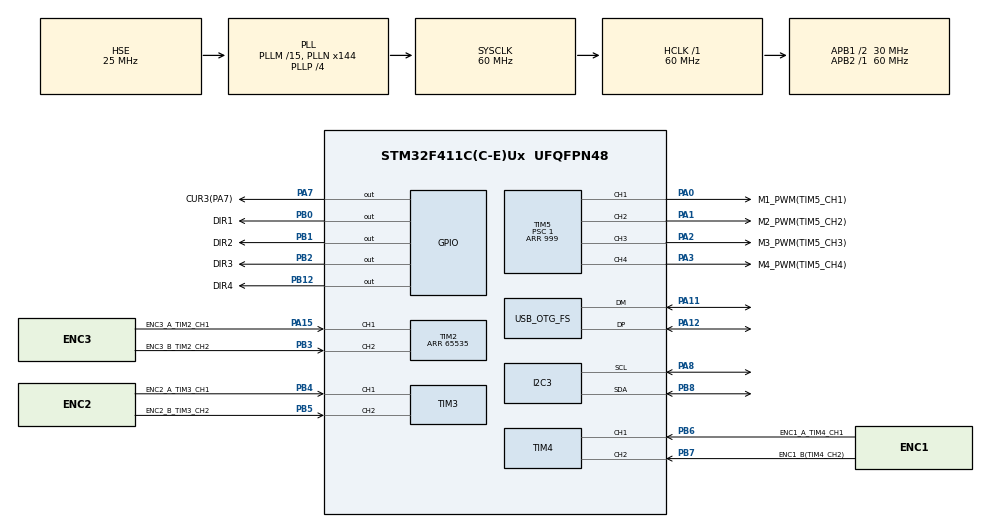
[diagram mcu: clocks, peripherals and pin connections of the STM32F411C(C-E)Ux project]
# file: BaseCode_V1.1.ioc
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Mcu.Family=STM32F4
Mcu.Name=STM32F411C(C-E)Ux
Mcu.Package=UFQFPN48
NVIC.OTG_FS_IRQn=true\:0\:0\:false\:false\:true\:false\:true\:true
NVIC.PriorityGroup=NVIC_PRIORITYGROUP_4
PA0-WKUP.GPIO_Label=M1_PWM(TIM5_CH1)
PA0-WKUP.Signal=S_TIM5_CH1
PA1.GPIO_Label=M2_PWM(TIM5_CH2)
PA1.Signal=S_TIM5_CH2
PA11.Mode=Device_Only
PA11.Signal=USB_OTG_FS_DM
PA12.Mode=Device_Only
PA12.Signal=USB_OTG_FS_DP
PA13.Mode=Serial_Wire
PA13.Signal=SYS_JTMS-SWDIO
PA14.Mode=Serial_Wire
PA14.Signal=SYS_JTCK-SWCLK
PA15.GPIO_Label=ENC3_A_TIM2_CH1
PA15.Signal=S_TIM2_CH1_ETR
PA2.GPIO_Label=M3_PWM(TIM5_CH3)
PA2.Signal=S_TIM5_CH3
PA3.GPIO_Label=M4_PWM(TIM5_CH4)
PA3.Signal=S_TIM5_CH4
PA7.GPIO_Label=CUR3(PA7)
PA7.Signal=GPIO_Output
PA8.Mode=I2C
PA8.Signal=I2C3_SCL
PB0.GPIO_Label=DIR1
PB0.Signal=GPIO_Output
PB1.GPIO_Label=DIR2
PB1.Signal=GPIO_Output
PB12.GPIO_Label=DIR4
PB12.Signal=GPIO_Output
PB2.GPIO_Label=DIR3
PB2.Signal=GPIO_Output
PB3.GPIO_Label=ENC3_B_TIM2_CH2
PB3.Signal=S_TIM2_CH2
PB4.GPIO_Label=ENC2_A_TIM3_CH1
PB4.Signal=S_TIM3_CH1
PB5.GPIO_Label=ENC2_B_TIM3_CH2
PB5.Signal=S_TIM3_CH2
PB6.GPIO_Label=ENC1_A_TIM4_CH1
PB6.Signal=S_TIM4_CH1
PB7.GPIO_Label=ENC1_B(TIM4_CH2)
PB7.Signal=S_TIM4_CH2
PB8.Mode=I2C
PB8.Signal=I2C3_SDA
PH0\ -\ OSC_IN.Mode=HSE-External-Oscillator
PH0\ -\ OSC_IN.Signal=RCC_OSC_IN
PH1\ -\ OSC_OUT.Mode=HSE-External-Oscillator
PH1\ -\ OSC_OUT.Signal=RCC_OSC_OUT
ProjectManager.HeapSize=0x200
ProjectManager.StackSize=0x400
ProjectManager.TargetToolchain=STM32CubeIDE
RCC.48MHZClocksFreq_Value=48000000
RCC.AHBFreq_Value=60000000
RCC.APB1CLKDivider=RCC_HCLK_DIV2
RCC.APB1Freq_Value=30000000
RCC.APB1TimFreq_Value=60000000
RCC.APB2Freq_Value=60000000
RCC.APB2TimFreq_Value=60000000
RCC.CortexFreq_Value=60000000
RCC.HCLKFreq_Value=60000000
RCC.HSE_VALUE=25000000
RCC.HSI_VALUE=16000000
RCC.LSE_VALUE=32768
RCC.PLLM=15
RCC.PLLN=144
RCC.PLLP=RCC_PLLP_DIV4
RCC.PLLQ=5
RCC.SYSCLKFreq_VALUE=60000000
RCC.SYSCLKSource=RCC_SYSCLKSOURCE_PLLCLK
RCC.VCOOutputFreq_Value=240000000
SH.S_TIM2_CH1_ETR.0=TIM2_CH1,Encoder_Interface
SH.S_TIM2_CH2.0=TIM2_CH2,Encoder_Interface
SH.S_TIM3_CH1.0=TIM3_CH1,Encoder_Interface
SH.S_TIM3_CH2.0=TIM3_CH2,Encoder_Interface
SH.S_TIM4_CH1.0=TIM4_CH1,Encoder_Interface
SH.S_TIM4_CH2.0=TIM4_CH2,Encoder_Interface
SH.S_TIM5_CH1.0=TIM5_CH1,PWM Generation1 CH1
SH.S_TIM5_CH2.0=TIM5_CH2,PWM Generation2 CH2
SH.S_TIM5_CH3.0=TIM5_CH3,PWM Generation3 CH3
SH.S_TIM5_CH4.0=TIM5_CH4,PWM Generation4 CH4
TIM2.EncoderMode=TIM_ENCODERMODE_TI12
TIM2.IC1Filter=5
TIM2.IC2Filter=5
TIM2.Period=65535
TIM3.EncoderMode=TIM_ENCODERMODE_TI12
TIM3.IC1Filter=5
TIM3.IC2Filter=5
TIM4.EncoderMode=TIM_ENCODERMODE_TI12
TIM4.IC1Filter=5
TIM4.IC2Filter=5
TIM5.Channel-PWM\ Generation1\ CH1=TIM_CHANNEL_1
TIM5.Channel-PWM\ Generation2\ CH2=TIM_CHANNEL_2
TIM5.Channel-PWM\ Generation3\ CH3=TIM_CHANNEL_3
TIM5.Channel-PWM\ Generation4\ CH4=TIM_CHANNEL_4
TIM5.Period=999
TIM5.Prescaler=1
USB_DEVICE.CLASS_NAME_FS=CDC
USB_DEVICE.VirtualMode=Cdc
USB_DEVICE.VirtualModeFS=Cdc_FS
USB_OTG_FS.VirtualMode=Device_Only
VP_TIM5_VS_ClockSourceINT.Mode=Internal
VP_USB_DEVICE_VS_USB_DEVICE_CDC_FS.Mode=CDC_FS
board=custom

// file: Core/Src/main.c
/* USER CODE BEGIN Header */
/**
  ******************************************************************************
  * @file           : main.c
  * @brief          : Main program body (Ultra-Clean Version)
  ******************************************************************************
  */
/* USER CODE END Header */
#include "main.h"
#include "usb_device.h"

/* USER CODE BEGIN Includes */
#include "usbd_cdc_if.h"
#include <stdio.h>
#include <stdlib.h>
#include <string.h>
#include <stdbool.h>
#include <math.h>

#include "bno085_driver.h"
#include "bno_port.h"
#include "encoder.h"
#include "motor.h"
#include "sport.h"
/* USER CODE END Includes */

I2C_HandleTypeDef hi2c3;

TIM_HandleTypeDef htim2;
TIM_HandleTypeDef htim3;
TIM_HandleTypeDef htim4;
TIM_HandleTypeDef htim5;

/* USER CODE BEGIN PV */
/* BNO085 instances */
static BNO085 s_bno;
static BNO_Port s_bno_port;
static bool s_bno_ready = false;
static uint32_t s_last_feature_retry = 0;

/* State variables */
static uint32_t s_last_telemetry_tick = 0;
static uint32_t s_last_cmd_tick = 0;
static bool s_motors_active = false;
static int16_t s_motor_pwm[4] = {0, 0, 0, 0};

/* SmartPort current sensor state */
static float s_current_amps = 0.0f;
static uint32_t s_last_sport_ok_tick = 0;
static uint32_t s_last_sport_poll_tick = 0;
static bool s_sport_ever_ok = false;

/* USB Buffers */
static char s_tx_buf[384];
static char s_ack_buf[256];
static volatile bool s_pending_ack = false;
static char s_rx_line[128];
static uint8_t s_rx_idx = 0;
/* USER CODE END PV */

void SystemClock_Config(void);
static void MX_GPIO_Init(void);
static void MX_TIM2_Init(void);
static void MX_TIM3_Init(void);
static void MX_TIM4_Init(void);
static void MX_TIM5_Init(void);
static void MX_I2C3_Init(void);

int main(void)
{

  /* MCU Configuration--------------------------------------------------------*/

  /* Reset of all peripherals, Initializes the Flash interface and the Systick. */
  HAL_Init();

  /* Configure the system clock */
  SystemClock_Config();

  /* Initialize all configured peripherals */
  MX_GPIO_Init();
  MX_TIM2_Init();
  MX_TIM3_Init();
  MX_TIM4_Init();
  MX_TIM5_Init();
  MX_USB_DEVICE_Init();
  MX_I2C3_Init();
  /* USER CODE BEGIN 2 */
  HAL_Delay(1000); /* Allow USB CDC and peripherals to initialize */

  /* Initialize autonomous robot subsystems (Encoders, MD30C Motors, BNO085) */
  robot_init();
  /* USER CODE END 2 */

  /* Infinite loop */
  /* USER CODE BEGIN WHILE */
  while (1)
  {
    /* Service odometry, IMU, motor safety, and USB CDC JSON telemetry */
    robot_loop();
    /* USER CODE END WHILE */

  }
}

void SystemClock_Config(void)
{
  RCC_OscInitTypeDef RCC_OscInitStruct = {0};
  RCC_ClkInitTypeDef RCC_ClkInitStruct = {0};

  /** Configure the main internal regulator output voltage
  */
  __HAL_RCC_PWR_CLK_ENABLE();
  __HAL_PWR_VOLTAGESCALING_CONFIG(PWR_REGULATOR_VOLTAGE_SCALE1);

  /** Initializes the RCC Oscillators according to the specified parameters
  * in the RCC_OscInitTypeDef structure.
  */
  RCC_OscInitStruct.OscillatorType = RCC_OSCILLATORTYPE_HSE;
  RCC_OscInitStruct.HSEState = RCC_HSE_ON;
  RCC_OscInitStruct.PLL.PLLState = RCC_PLL_ON;
  RCC_OscInitStruct.PLL.PLLSource = RCC_PLLSOURCE_HSE;
  RCC_OscInitStruct.PLL.PLLM = 15;
  RCC_OscInitStruct.PLL.PLLN = 144;
  RCC_OscInitStruct.PLL.PLLP = RCC_PLLP_DIV4;
  RCC_OscInitStruct.PLL.PLLQ = 5;
  if (HAL_RCC_OscConfig(&RCC_OscInitStruct) != HAL_OK)
  {
    Error_Handler();
  }

  /** Initializes the CPU, AHB and APB buses clocks
  */
  RCC_ClkInitStruct.ClockType = RCC_CLOCKTYPE_HCLK|RCC_CLOCKTYPE_SYSCLK
                              |RCC_CLOCKTYPE_PCLK1|RCC_CLOCKTYPE_PCLK2;
  RCC_ClkInitStruct.SYSCLKSource = RCC_SYSCLKSOURCE_PLLCLK;
  RCC_ClkInitStruct.AHBCLKDivider = RCC_SYSCLK_DIV1;
  RCC_ClkInitStruct.APB1CLKDivider = RCC_HCLK_DIV2;
  RCC_ClkInitStruct.APB2CLKDivider = RCC_HCLK_DIV1;

  if (HAL_RCC_ClockConfig(&RCC_ClkInitStruct, FLASH_LATENCY_1) != HAL_OK)
  {
    Error_Handler();
  }
}

static void MX_I2C3_Init(void)
{

  hi2c3.Instance = I2C3;
  hi2c3.Init.ClockSpeed = 100000;
  hi2c3.Init.DutyCycle = I2C_DUTYCYCLE_2;
  hi2c3.Init.OwnAddress1 = 0;
  hi2c3.Init.AddressingMode = I2C_ADDRESSINGMODE_7BIT;
  hi2c3.Init.DualAddressMode = I2C_DUALADDRESS_DISABLE;
  hi2c3.Init.OwnAddress2 = 0;
  hi2c3.Init.GeneralCallMode = I2C_GENERALCALL_DISABLE;
  hi2c3.Init.NoStretchMode = I2C_NOSTRETCH_DISABLE;
  if (HAL_I2C_Init(&hi2c3) != HAL_OK)
  {
    Error_Handler();
  }

}

static void MX_TIM2_Init(void)
{

  TIM_Encoder_InitTypeDef sConfig = {0};
  TIM_MasterConfigTypeDef sMasterConfig = {0};

  htim2.Instance = TIM2;
  htim2.Init.Prescaler = 0;
  htim2.Init.CounterMode = TIM_COUNTERMODE_UP;
  htim2.Init.Period = 65535;
  htim2.Init.ClockDivision = TIM_CLOCKDIVISION_DIV1;
  htim2.Init.AutoReloadPreload = TIM_AUTORELOAD_PRELOAD_DISABLE;
  sConfig.EncoderMode = TIM_ENCODERMODE_TI12;
  sConfig.IC1Polarity = TIM_ICPOLARITY_RISING;
  sConfig.IC1Selection = TIM_ICSELECTION_DIRECTTI;
  sConfig.IC1Prescaler = TIM_ICPSC_DIV1;
  sConfig.IC1Filter = 5;
  sConfig.IC2Polarity = TIM_ICPOLARITY_RISING;
  sConfig.IC2Selection = TIM_ICSELECTION_DIRECTTI;
  sConfig.IC2Prescaler = TIM_ICPSC_DIV1;
  sConfig.IC2Filter = 5;
  if (HAL_TIM_Encoder_Init(&htim2, &sConfig) != HAL_OK)
  {
    Error_Handler();
  }
  sMasterConfig.MasterOutputTrigger = TIM_TRGO_RESET;
  sMasterConfig.MasterSlaveMode = TIM_MASTERSLAVEMODE_DISABLE;
  if (HAL_TIMEx_MasterConfigSynchronization(&htim2, &sMasterConfig) != HAL_OK)
  {
    Error_Handler();
  }

}

static void MX_TIM3_Init(void)
{

  TIM_Encoder_InitTypeDef sConfig = {0};
  TIM_MasterConfigTypeDef sMasterConfig = {0};

  htim3.Instance = TIM3;
  htim3.Init.Prescaler = 0;
  htim3.Init.CounterMode = TIM_COUNTERMODE_UP;
  htim3.Init.Period = 65535;
  htim3.Init.ClockDivision = TIM_CLOCKDIVISION_DIV1;
  htim3.Init.AutoReloadPreload = TIM_AUTORELOAD_PRELOAD_DISABLE;
  sConfig.EncoderMode = TIM_ENCODERMODE_TI12;
  sConfig.IC1Polarity = TIM_ICPOLARITY_RISING;
  sConfig.IC1Selection = TIM_ICSELECTION_DIRECTTI;
  sConfig.IC1Prescaler = TIM_ICPSC_DIV1;
  sConfig.IC1Filter = 5;
  sConfig.IC2Polarity = TIM_ICPOLARITY_RISING;
  sConfig.IC2Selection = TIM_ICSELECTION_DIRECTTI;
  sConfig.IC2Prescaler = TIM_ICPSC_DIV1;
  sConfig.IC2Filter = 5;
  if (HAL_TIM_Encoder_Init(&htim3, &sConfig) != HAL_OK)
  {
    Error_Handler();
  }
  sMasterConfig.MasterOutputTrigger = TIM_TRGO_RESET;
  sMasterConfig.MasterSlaveMode = TIM_MASTERSLAVEMODE_DISABLE;
  if (HAL_TIMEx_MasterConfigSynchronization(&htim3, &sMasterConfig) != HAL_OK)
  {
    Error_Handler();
  }

}

static void MX_TIM4_Init(void)
{

  TIM_Encoder_InitTypeDef sConfig = {0};
  TIM_MasterConfigTypeDef sMasterConfig = {0};

  htim4.Instance = TIM4;
  htim4.Init.Prescaler = 0;
  htim4.Init.CounterMode = TIM_COUNTERMODE_UP;
  htim4.Init.Period = 65535;
  htim4.Init.ClockDivision = TIM_CLOCKDIVISION_DIV1;
  htim4.Init.AutoReloadPreload = TIM_AUTORELOAD_PRELOAD_DISABLE;
  sConfig.EncoderMode = TIM_ENCODERMODE_TI12;
  sConfig.IC1Polarity = TIM_ICPOLARITY_RISING;
  sConfig.IC1Selection = TIM_ICSELECTION_DIRECTTI;
  sConfig.IC1Prescaler = TIM_ICPSC_DIV1;
  sConfig.IC1Filter = 5;
  sConfig.IC2Polarity = TIM_ICPOLARITY_RISING;
  sConfig.IC2Selection = TIM_ICSELECTION_DIRECTTI;
  sConfig.IC2Prescaler = TIM_ICPSC_DIV1;
  sConfig.IC2Filter = 5;
  if (HAL_TIM_Encoder_Init(&htim4, &sConfig) != HAL_OK)
  {
    Error_Handler();
  }
  sMasterConfig.MasterOutputTrigger = TIM_TRGO_RESET;
  sMasterConfig.MasterSlaveMode = TIM_MASTERSLAVEMODE_DISABLE;
  if (HAL_TIMEx_MasterConfigSynchronization(&htim4, &sMasterConfig) != HAL_OK)
  {
    Error_Handler();
  }

}

static void MX_TIM5_Init(void)
{

  TIM_ClockConfigTypeDef sClockSourceConfig = {0};
  TIM_MasterConfigTypeDef sMasterConfig = {0};
  TIM_OC_InitTypeDef sConfigOC = {0};

  htim5.Instance = TIM5;
  htim5.Init.Prescaler = 1;
  htim5.Init.CounterMode = TIM_COUNTERMODE_UP;
  htim5.Init.Period = 999;
  htim5.Init.ClockDivision = TIM_CLOCKDIVISION_DIV1;
  htim5.Init.AutoReloadPreload = TIM_AUTORELOAD_PRELOAD_DISABLE;
  if (HAL_TIM_Base_Init(&htim5) != HAL_OK)
  {
    Error_Handler();
  }
  sClockSourceConfig.ClockSource = TIM_CLOCKSOURCE_INTERNAL;
  if (HAL_TIM_ConfigClockSource(&htim5, &sClockSourceConfig) != HAL_OK)
  {
    Error_Handler();
  }
  if (HAL_TIM_PWM_Init(&htim5) != HAL_OK)
  {
    Error_Handler();
  }
  sMasterConfig.MasterOutputTrigger = TIM_TRGO_RESET;
  sMasterConfig.MasterSlaveMode = TIM_MASTERSLAVEMODE_DISABLE;
  if (HAL_TIMEx_MasterConfigSynchronization(&htim5, &sMasterConfig) != HAL_OK)
  {
    Error_Handler();
  }
  sConfigOC.OCMode = TIM_OCMODE_PWM1;
  sConfigOC.Pulse = 0;
  sConfigOC.OCPolarity = TIM_OCPOLARITY_HIGH;
  sConfigOC.OCFastMode = TIM_OCFAST_DISABLE;
  if (HAL_TIM_PWM_ConfigChannel(&htim5, &sConfigOC, TIM_CHANNEL_1) != HAL_OK)
  {
    Error_Handler();
  }
  if (HAL_TIM_PWM_ConfigChannel(&htim5, &sConfigOC, TIM_CHANNEL_2) != HAL_OK)
  {
    Error_Handler();
  }
  if (HAL_TIM_PWM_ConfigChannel(&htim5, &sConfigOC, TIM_CHANNEL_3) != HAL_OK)
  {
    Error_Handler();
  }
  if (HAL_TIM_PWM_ConfigChannel(&htim5, &sConfigOC, TIM_CHANNEL_4) != HAL_OK)
  {
    Error_Handler();
  }
  HAL_TIM_MspPostInit(&htim5);

}

static void MX_GPIO_Init(void)
{
  GPIO_InitTypeDef GPIO_InitStruct = {0};

  /* GPIO Ports Clock Enable */
  __HAL_RCC_GPIOH_CLK_ENABLE();
  __HAL_RCC_GPIOA_CLK_ENABLE();
  __HAL_RCC_GPIOB_CLK_ENABLE();

  /*Configure GPIO pin Output Level */
  HAL_GPIO_WritePin(CUR3_GPIO_Port, CUR3_Pin, GPIO_PIN_RESET);

  /*Configure GPIO pin Output Level */
  HAL_GPIO_WritePin(GPIOB, DIR1_Pin|DIR2_Pin|DIR3_Pin|DIR4_Pin, GPIO_PIN_RESET);

  /*Configure GPIO pin : CUR3_Pin */
  GPIO_InitStruct.Pin = CUR3_Pin;
  GPIO_InitStruct.Mode = GPIO_MODE_OUTPUT_PP;
  GPIO_InitStruct.Pull = GPIO_NOPULL;
  GPIO_InitStruct.Speed = GPIO_SPEED_FREQ_LOW;
  HAL_GPIO_Init(CUR3_GPIO_Port, &GPIO_InitStruct);

  /*Configure GPIO pins : DIR1_Pin DIR2_Pin DIR3_Pin DIR4_Pin */
  GPIO_InitStruct.Pin = DIR1_Pin|DIR2_Pin|DIR3_Pin|DIR4_Pin;
  GPIO_InitStruct.Mode = GPIO_MODE_OUTPUT_PP;
  GPIO_InitStruct.Pull = GPIO_NOPULL;
  GPIO_InitStruct.Speed = GPIO_SPEED_FREQ_LOW;
  HAL_GPIO_Init(GPIOB, &GPIO_InitStruct);

}

/* USER CODE BEGIN 4 */
/* Helper to parse an integer following a key in a JSON-like string */
static bool parse_json_int(const char *str, const char *key, int *out_val) {
  const char *p = strstr(str, key);
  if (!p)
    return false;

  p += strlen(key);
  while (*p && (*p == ' ' || *p == ':' || *p == '"'))
    p++;

  if (*p == '-' || (*p >= '0' && *p <= '9')) {
    *out_val = atoi(p);
    return true;
  }
  return false;
}

void robot_set_motor(uint8_t motor_id, int16_t speed) {
  if (motor_id > 3)
    return;
  if (speed > MOTOR_MAX_PWM_LIMIT)
    speed = MOTOR_MAX_PWM_LIMIT;
  if (speed < -MOTOR_MAX_PWM_LIMIT)
    speed = -MOTOR_MAX_PWM_LIMIT;
  s_motor_pwm[motor_id] = speed;
  motor_set(motor_id, speed);
  if (speed != 0)
    s_motors_active = true;
}

void robot_set_all_motors(int16_t speed) {
  for (int i = 0; i < 4; i++) {
    robot_set_motor(i, speed);
  }
}

void robot_stop(void) {
  for (int i = 0; i < 4; i++) {
    s_motor_pwm[i] = 0;
  }
  motor_stop_all();
  s_motors_active = false;
}

int16_t robot_get_motor_pwm(uint8_t motor_id) {
  if (motor_id < 4)
    return s_motor_pwm[motor_id];
  return 0;
}

/*
 * Parses incoming commands over USB CDC.
 * Supports:
 *   1. Individual JSON keys: {"m1": 500, "m2": 500, "m3": -500, "m4": -500}
 *   2. Array format:         {"m": [500, 500, -500, -500]} or {"pwm": [500, 500, -500, -500]}
 *   3. Broadcast speed:      {"speed": 300} or {"pwm": 300}
 *   4. Emergency stop:       {"cmd": "stop"} or "stop"
 *   5. SmartPort diagnostics: "sport", "diag", "poll", or {"cmd":"sport"}
 *   6. Raw number input:     "50" (sets all motors to 50% / 500 speed)
 */
static void parse_command(const char *cmd) {
  s_last_cmd_tick = HAL_GetTick();

  /* Emergency stop check */
  if (strstr(cmd, "stop") != NULL) {
    robot_stop();
    snprintf(s_ack_buf, sizeof(s_ack_buf),
             "{\"status\":\"OK\",\"cmd\":\"stop\",\"pwm\":[0,0,0,0]}\r\n");
    s_pending_ack = true;
    return;
  }

  /* SmartPort diagnostics / polling command: "sport", "diag", "poll" */
  if (strstr(cmd, "sport") != NULL || strstr(cmd, "diag") != NULL || strstr(cmd, "poll") != NULL) {
    snprintf(s_ack_buf, sizeof(s_ack_buf),
             "{\"sport\":{\"wire\":\"%s\",\"clk\":%lu,\"bit\":%lu,\"id\":%u,\"lock\":%u,"
             "\"rx\":%u,\"crc\":%d,\"app\":%u,\"raw\":%lu,\"cur\":%.2f,\"vb\":%.2f,"
             "\"reads\":%lu,\"polls\":%lu,\"frame\":[%u,%u,%u,%u,%u,%u,%u,%u]}}\r\n",
             g_sport_debug.wire_state_idle ? "HIGH" : "LOW",
             (unsigned long)g_sport_debug.clock_hz,
             (unsigned long)g_sport_debug.bit_cycles,
             g_sport_debug.last_poll_id, g_sport_debug.locked_poll_id,
             g_sport_debug.bytes_received, g_sport_debug.last_crc_ok ? 1 : 0,
             g_sport_debug.last_app_id, (unsigned long)g_sport_debug.last_raw_val,
             g_sport_debug.current_amps, g_sport_debug.voltage_volts,
             (unsigned long)g_sport_debug.successful_reads,
             (unsigned long)g_sport_debug.total_polls,
             g_sport_debug.raw_frame[0], g_sport_debug.raw_frame[1],
             g_sport_debug.raw_frame[2], g_sport_debug.raw_frame[3],
             g_sport_debug.raw_frame[4], g_sport_debug.raw_frame[5],
             g_sport_debug.raw_frame[6], g_sport_debug.raw_frame[7]);
    s_pending_ack = true;
    return;
  }

  /* 1. Check for individual motor keys "m1", "m2", "m3", "m4" */
  int val;
  bool found_individual = false;
  if (parse_json_int(cmd, "\"m1\"", &val)) {
    robot_set_motor(0, (int16_t)val);
    found_individual = true;
  }
  if (parse_json_int(cmd, "\"m2\"", &val)) {
    robot_set_motor(1, (int16_t)val);
    found_individual = true;
  }
  if (parse_json_int(cmd, "\"m3\"", &val)) {
    robot_set_motor(2, (int16_t)val);
    found_individual = true;
  }
  if (parse_json_int(cmd, "\"m4\"", &val)) {
    robot_set_motor(3, (int16_t)val);
    found_individual = true;
  }
  if (found_individual) {
    snprintf(s_ack_buf, sizeof(s_ack_buf),
             "{\"status\":\"OK\",\"pwm\":[%d,%d,%d,%d]}\r\n", s_motor_pwm[0],
             s_motor_pwm[1], s_motor_pwm[2], s_motor_pwm[3]);
    s_pending_ack = true;
    return;
  }

  /* 2. Check for array format: {"m": [...]} or {"pwm": [...]} */
  const char *p = strstr(cmd, "\"m\":");
  if (!p)
    p = strstr(cmd, "\"pwm\":");
  if (p) {
    const char *bracket = strchr(p, '[');
    if (bracket) {
      bracket++;
      for (int i = 0; i < 4; i++) {
        while (*bracket == ' ' || *bracket == ',')
          bracket++;
        if (!*bracket || *bracket == ']')
          break;
        int spd = atoi(bracket);
        robot_set_motor(i, (int16_t)spd);
        while (*bracket && *bracket != ',' && *bracket != ']')
          bracket++;
        if (*bracket == ',')
          bracket++;
      }
      snprintf(s_ack_buf, sizeof(s_ack_buf),
               "{\"status\":\"OK\",\"pwm\":[%d,%d,%d,%d]}\r\n", s_motor_pwm[0],
               s_motor_pwm[1], s_motor_pwm[2], s_motor_pwm[3]);
      s_pending_ack = true;
      return;
    } else {
      /* Single broadcast value: {"pwm": 500} */
      const char *col = strchr(p, ':');
      if (col && parse_json_int(col - 5, "\"pwm\"", &val)) {
        robot_set_all_motors((int16_t)val);
        snprintf(s_ack_buf, sizeof(s_ack_buf),
                 "{\"status\":\"OK\",\"pwm\":[%d,%d,%d,%d]}\r\n",
                 s_motor_pwm[0], s_motor_pwm[1], s_motor_pwm[2],
                 s_motor_pwm[3]);
        s_pending_ack = true;
        return;
      }
    }
  }

  /* 3. Check for broadcast speed: {"speed": 500} */
  if (parse_json_int(cmd, "\"speed\"", &val)) {
    robot_set_all_motors((int16_t)val);
    snprintf(s_ack_buf, sizeof(s_ack_buf),
             "{\"status\":\"OK\",\"pwm\":[%d,%d,%d,%d]}\r\n", s_motor_pwm[0],
             s_motor_pwm[1], s_motor_pwm[2], s_motor_pwm[3]);
    s_pending_ack = true;
    return;
  }

  /* 4. Fallback: Raw numeric input (e.g. "50" or "-80" from serial terminal) */
  const char *c = cmd;
  while (*c == ' ' || *c == '\t')
    c++;
  if (*c == '-' || (*c >= '0' && *c <= '9')) {
    int raw_val = atoi(c);
    /* If sent as percentage -100..100, scale to -1000..1000 */
    if (raw_val >= -100 && raw_val <= 100) {
      raw_val *= 10;
    }
    robot_set_all_motors((int16_t)raw_val);
    snprintf(s_ack_buf, sizeof(s_ack_buf),
             "{\"status\":\"OK\",\"pwm\":[%d,%d,%d,%d]}\r\n", s_motor_pwm[0],
             s_motor_pwm[1], s_motor_pwm[2], s_motor_pwm[3]);
    s_pending_ack = true;
    return;
  }

  /* Unrecognized command */
  snprintf(s_ack_buf, sizeof(s_ack_buf),
           "{\"status\":\"ERR\",\"msg\":\"unknown cmd\"}\r\n");
  s_pending_ack = true;
}

void robot_process_rx(uint8_t *buf, uint32_t len) {
  for (uint32_t i = 0; i < len; i++) {
    char c = (char)buf[i];

    if (c == '\r' || c == '\n') {
      if (s_rx_idx > 0) {
        s_rx_line[s_rx_idx] = '\0';
        parse_command(s_rx_line);
        s_rx_idx = 0;
      }
    } else if (s_rx_idx < (sizeof(s_rx_line) - 1)) {
      s_rx_line[s_rx_idx++] = c;
    }
  }
}

void robot_init(void) {
  /* 1. Initialize 3 Dead Wheel Encoders (TIM4, TIM3, TIM2) */
  encoder_init(&htim4, &htim3, &htim2);

  /* 2. Initialize 4x MD30C Motor Drivers (PWM on TIM5 CH1..CH4, DIR on GPIOB) */
  motor_config_t my_motors[4] = {
      {TIM_CHANNEL_1, DIR1_GPIO_Port, DIR1_Pin}, /* M1: PA0 (TIM5_CH1), DIR: PB0 */
      {TIM_CHANNEL_2, DIR2_GPIO_Port, DIR2_Pin}, /* M2: PA1 (TIM5_CH2), DIR: PB1 */
      {TIM_CHANNEL_3, DIR3_GPIO_Port, DIR3_Pin}, /* M3: PA2 (TIM5_CH3), DIR: PB2 */
      {TIM_CHANNEL_4, DIR4_GPIO_Port, DIR4_Pin}  /* M4: PA3 (TIM5_CH4), DIR: PB12 */
  };
  motor_init(&htim5, my_motors);

  /* 3. Initialize BNO085 IMU */
  BNO_Port_Init(&s_bno_port);
  if (BNO_Port_Detect()) {
    if (BNO085_Init(&s_bno, &s_bno_port) == BNO_PORT_OK) {
      /* Drain initial startup and advertisement SHTP packets from BNO boot */
      for (int i = 0; i < 15; i++) {
        BNO085_Update(&s_bno);
        HAL_Delay(10);
      }

      /* Enable Game Rotation Vector (50Hz / 20000us) for drift-free yaw */
      BNO085_EnableGameRotation(&s_bno, 20000);
      HAL_Delay(20);
      /* Enable standard Rotation Vector as fallback */
      BNO085_EnableRotation(&s_bno, 20000);
      HAL_Delay(20);
      /* Enable Linear Acceleration (50Hz / 20000us) for gravity-free x, y */
      BNO085_EnableLinearAccel(&s_bno, 20000);
      HAL_Delay(20);
      /* Enable standard Acceleration as fallback */
      BNO085_EnableAccel(&s_bno, 20000);
      HAL_Delay(20);
      /* Enable Calibrated Gyroscope (50Hz / 20000us) for angular velocity x, y */
      BNO085_EnableGyro(&s_bno, 20000);
      HAL_Delay(20);

      s_bno_ready = true;
    }
  }

  /* 4. Initialize FrSky SmartPort current sensor on PA7 (DWT-timed bit-bang). */
  SPort_Init();

  s_last_telemetry_tick = HAL_GetTick();
  s_last_cmd_tick = HAL_GetTick();
  s_last_sport_poll_tick = HAL_GetTick();
}

void robot_loop(void) {
  /* 1. Process pending BNO085 SHTP packets */
  if (s_bno_ready) {
    for (int i = 0; i < 8; i++) {
      if (BNO085_Update(&s_bno) != BNO_PORT_OK)
        break;
    }

    /* If no sensor reports have arrived yet, re-send SetFeature requests every 250ms */
    if (s_bno.diag.rx_reports == 0 &&
        (HAL_GetTick() - s_last_feature_retry >= 250)) {
      s_last_feature_retry = HAL_GetTick();
      BNO085_EnableGameRotation(&s_bno, 20000);
      BNO085_EnableRotation(&s_bno, 20000);
      BNO085_EnableLinearAccel(&s_bno, 20000);
      BNO085_EnableAccel(&s_bno, 20000);
      BNO085_EnableGyro(&s_bno, 20000);
    }
  }

  /* Service immediate command acknowledgment */
  if (s_pending_ack) {
    if (CDC_Transmit_FS((uint8_t *)s_ack_buf, (uint16_t)strlen(s_ack_buf)) ==
        USBD_OK) {
      s_pending_ack = false;
    }
  }

  /* 2. FrSky SmartPort current poll cycle (every ~12 ms) */
  if (HAL_GetTick() - s_last_sport_poll_tick >= SPORT_POLL_PERIOD_MS) {
    s_last_sport_poll_tick = HAL_GetTick();
    float amps;
    if (SPort_PollCurrent(&amps)) {
      s_current_amps = amps;
      s_last_sport_ok_tick = HAL_GetTick();
      s_sport_ever_ok = true;
    }
  }

  /* 3. Periodic JSON Telemetry Output (50 Hz / 20 ms) */
  if (!s_pending_ack &&
      (HAL_GetTick() - s_last_telemetry_tick >= TELEMETRY_INTERVAL_MS)) {
    s_last_telemetry_tick = HAL_GetTick();
    uint32_t t_ms = s_last_telemetry_tick;

    /* Update 3 dead wheel encoder counts */
    encoder_update();
    int32_t e1 = encoder_get_count(0);
    int32_t e2 = encoder_get_count(1);
    int32_t e3 = encoder_get_count(2);

    /* Get BNO085 Heading (Yaw in degrees) */
    BNO_Quaternion q;
    float yaw = 0.0f;
    if (BNO085_GetGameRotation(&s_bno, &q) || BNO085_GetRotation(&s_bno, &q)) {
      yaw = BNO085_GetEulerYaw(&q);
    }

    /* Get BNO085 Acceleration (x, y in m/s^2) - No Z axis */
    BNO_Vector3 accel = {0.0f, 0.0f, 0.0f};
    if (!BNO085_GetLinearAccel(&s_bno, &accel)) {
      BNO085_GetAccel(&s_bno, &accel);
    }

    /* Get BNO085 Angular Velocity (x, y in rad/s) - No Z axis */
    BNO_Vector3 gyro = {0.0f, 0.0f, 0.0f};
    BNO085_GetGyro(&s_bno, &gyro);

    /* SmartPort current sensor status (stale after SPORT_STALE_MS) */
    bool sport_ok = s_sport_ever_ok &&
                    ((t_ms - s_last_sport_ok_tick) < SPORT_STALE_MS);

    /* Abbreviated JSON telemetry */
    int len = snprintf(
          s_tx_buf, sizeof(s_tx_buf),
          "{\"t\":%lu,\"yaw\":%.2f,\"ax\":%.2f,\"ay\":%.2f,\"wx\":%.2f,\"wy\":%.2f,"
          "\"e1\":%ld,\"e2\":%ld,\"e3\":%ld,\"ok\":%d,\"pwm\":[%d,%d,%d,%d],"
          "\"cur\":%.2f,\"vb\":%.2f,\"cs\":%d}\r\n",
          (unsigned long)t_ms, yaw, accel.x, accel.y, gyro.x, gyro.y,
          (long)e1, (long)e2, (long)e3,
          s_bno_ready ? 1 : 0, s_motor_pwm[0], s_motor_pwm[1], s_motor_pwm[2],
          s_motor_pwm[3],
          s_current_amps, g_sport_debug.voltage_volts, sport_ok ? 1 : 0);

    if (len > 0) {
      CDC_Transmit_FS((uint8_t *)s_tx_buf, (uint16_t)len);
    }
  }
}
/* USER CODE END 4 */

void Error_Handler(void)
{
  __disable_irq();
  while (1)
  {
  }
}
